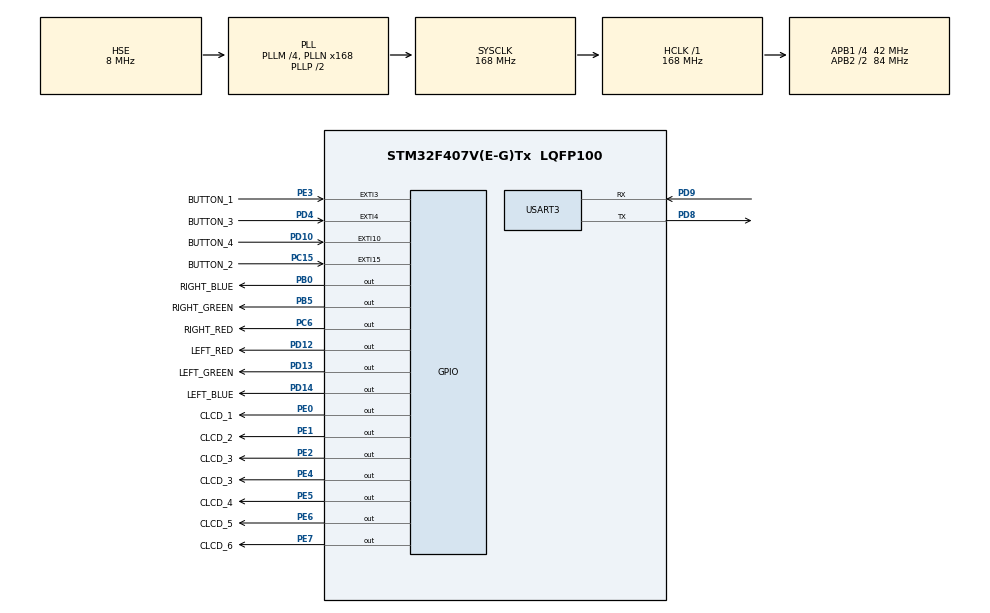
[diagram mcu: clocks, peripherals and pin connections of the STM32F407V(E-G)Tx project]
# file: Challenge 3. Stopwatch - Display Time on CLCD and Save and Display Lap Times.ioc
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Mcu.Family=STM32F4
Mcu.Name=STM32F407V(E-G)Tx
Mcu.Package=LQFP100
NVIC.EXTI15_10_IRQn=true\:0\:0\:false\:true\:true\:5\:true\:true\:true
NVIC.EXTI3_IRQn=true\:0\:0\:false\:true\:true\:3\:true\:true\:true
NVIC.EXTI4_IRQn=true\:0\:0\:false\:true\:true\:4\:true\:true\:true
NVIC.PriorityGroup=NVIC_PRIORITYGROUP_4
NVIC.TIM6_DAC_IRQn=true\:0\:0\:false\:true\:true\:1\:true\:true\:true
NVIC.USART3_IRQn=true\:0\:0\:false\:true\:true\:2\:true\:true\:true
PA13.Mode=Serial_Wire
PA13.Signal=SYS_JTMS-SWDIO
PA14.Mode=Serial_Wire
PA14.Signal=SYS_JTCK-SWCLK
PB0.GPIO_Label=RIGHT_BLUE
PB0.GPIO_PuPd=GPIO_PULLUP
PB0.GPIO_Speed=GPIO_SPEED_FREQ_HIGH
PB0.PinState=GPIO_PIN_SET
PB0.Signal=GPIO_Output
PB5.GPIO_Label=RIGHT_GREEN
PB5.GPIO_ModeDefaultOutputPP=GPIO_MODE_OUTPUT_PP
PB5.GPIO_PuPd=GPIO_PULLUP
PB5.GPIO_Speed=GPIO_SPEED_FREQ_HIGH
PB5.PinState=GPIO_PIN_SET
PB5.Signal=GPIO_Output
PC15-OSC32_OUT.GPIO_Label=BUTTON_2
PC15-OSC32_OUT.GPIO_ModeDefaultEXTI=GPIO_MODE_IT_RISING_FALLING
PC15-OSC32_OUT.Signal=GPXTI15
PC6.GPIO_Label=RIGHT_RED
PC6.GPIO_ModeDefaultOutputPP=GPIO_MODE_OUTPUT_PP
PC6.GPIO_PuPd=GPIO_PULLUP
PC6.GPIO_Speed=GPIO_SPEED_FREQ_HIGH
PC6.PinState=GPIO_PIN_SET
PC6.Signal=GPIO_Output
PD10.GPIO_Label=BUTTON_4
PD10.GPIO_ModeDefaultEXTI=GPIO_MODE_IT_RISING_FALLING
PD10.Signal=GPXTI10
PD12.GPIO_Label=LEFT_RED
PD12.GPIO_PuPd=GPIO_PULLUP
PD12.GPIO_Speed=GPIO_SPEED_FREQ_HIGH
PD12.PinState=GPIO_PIN_SET
PD12.Signal=GPIO_Output
PD13.GPIO_Label=LEFT_GREEN
PD13.GPIO_ModeDefaultOutputPP=GPIO_MODE_OUTPUT_PP
PD13.GPIO_PuPd=GPIO_PULLUP
PD13.GPIO_Speed=GPIO_SPEED_FREQ_HIGH
PD13.PinState=GPIO_PIN_SET
PD13.Signal=GPIO_Output
PD14.GPIO_Label=LEFT_BLUE
PD14.GPIO_ModeDefaultOutputPP=GPIO_MODE_OUTPUT_PP
PD14.GPIO_PuPd=GPIO_PULLUP
PD14.GPIO_Speed=GPIO_SPEED_FREQ_HIGH
PD14.PinState=GPIO_PIN_SET
PD14.Signal=GPIO_Output
PD4.GPIO_Label=BUTTON_3
PD4.GPIO_ModeDefaultEXTI=GPIO_MODE_IT_RISING_FALLING
PD4.Signal=GPXTI4
PD8.Mode=Asynchronous
PD8.Signal=USART3_TX
PD9.Mode=Asynchronous
PD9.Signal=USART3_RX
PE0.GPIO_Label=CLCD_1
PE0.Signal=GPIO_Output
PE1.GPIO_Label=CLCD_2
PE1.Signal=GPIO_Output
PE2.GPIO_Label=CLCD_3
PE2.Signal=GPIO_Output
PE3.GPIO_Label=BUTTON_1
PE3.GPIO_ModeDefaultEXTI=GPIO_MODE_IT_RISING_FALLING
PE3.Signal=GPXTI3
PE4.GPIO_Label=CLCD_3
PE4.Signal=GPIO_Output
PE5.GPIO_Label=CLCD_4
PE5.Signal=GPIO_Output
PE6.GPIO_Label=CLCD_5
PE6.Signal=GPIO_Output
PE7.GPIO_Label=CLCD_6
PE7.Signal=GPIO_Output
PH0-OSC_IN.Mode=HSE-External-Oscillator
PH0-OSC_IN.Signal=RCC_OSC_IN
PH1-OSC_OUT.Mode=HSE-External-Oscillator
PH1-OSC_OUT.Signal=RCC_OSC_OUT
ProjectManager.HeapSize=0x200
ProjectManager.StackSize=0x400
ProjectManager.TargetToolchain=STM32CubeIDE
RCC.48MHZClocksFreq_Value=84000000
RCC.AHBFreq_Value=168000000
RCC.APB1CLKDivider=RCC_HCLK_DIV4
RCC.APB1Freq_Value=42000000
RCC.APB1TimFreq_Value=84000000
RCC.APB2CLKDivider=RCC_HCLK_DIV2
RCC.APB2Freq_Value=84000000
RCC.APB2TimFreq_Value=168000000
RCC.CortexFreq_Value=168000000
RCC.HCLKFreq_Value=168000000
RCC.HSE_VALUE=8000000
RCC.HSI_VALUE=16000000
RCC.LSE_VALUE=32768
RCC.PLLM=4
RCC.PLLN=168
RCC.PLLSourceVirtual=RCC_PLLSOURCE_HSE
RCC.SYSCLKFreq_VALUE=168000000
RCC.SYSCLKSource=RCC_SYSCLKSOURCE_PLLCLK
RCC.VCOOutputFreq_Value=336000000
TIM6.AutoReloadPreload=TIM_AUTORELOAD_PRELOAD_ENABLE
TIM6.Period=1000 - 1
TIM6.Prescaler=84 - 1
USART3.VirtualMode=VM_ASYNC
VP_TIM6_VS_ClockSourceINT.Mode=Enable_Timer
board=custom

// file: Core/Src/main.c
/* USER CODE BEGIN Header */
/**
  ******************************************************************************
  * @file           : main.c
  * @brief          : Main program body
  ******************************************************************************
  * @attention
  *
  * Copyright (c) 2024 STMicroelectronics.
  * All rights reserved.
  *
  * This software is licensed under terms that can be found in the LICENSE file
  * in the root directory of this software component.
  * If no LICENSE file comes with this software, it is provided AS-IS.
  *
  ******************************************************************************
  */
/* USER CODE END Header */
#include <_000_common.h>
#include <_001_mode.h>
#include <_002_timer.h>
#include <_003_uart.h>
#include <_102_lcd.h>
#include <_103_seven_segment.h>
#include <_104_led.h>
#include <_105_button.h>
#include "main.h"
#include <_101_digital_clock.h>

TIM_HandleTypeDef htim6;

UART_HandleTypeDef huart3;

void SystemClock_Config(void);
static void MX_GPIO_Init(void);
static void MX_USART3_UART_Init(void);
static void MX_TIM6_Init(void);
static void MX_NVIC_Init(void);

int main(void)
{

  /* MCU Configuration--------------------------------------------------------*/

  /* Reset of all peripherals, Initializes the Flash interface and the Systick. */
  HAL_Init();

  /* Configure the system clock */
  SystemClock_Config();

  /* Initialize all configured peripherals */
  MX_GPIO_Init();
  MX_USART3_UART_Init();
  MX_TIM6_Init();

  /* Initialize interrupts */
  MX_NVIC_Init();
  /* USER CODE BEGIN 2 */
  HAL_TIM_Base_Start_IT(&htim6);
  _7SEG_GPIO_Init();
  CLCD_GPIO_Init();
  CLCD_Init();

  /* USER CODE END 2 */

  /* Infinite loop */
  /* USER CODE BEGIN WHILE */

  Button* button_1 = GET_INSTANCE(button_1);
  Button* button_2 = GET_INSTANCE(button_2);
  Button* button_3 = GET_INSTANCE(button_3);
  Button* button_4 = GET_INSTANCE(button_4);

  SevenSegment* segment = GET_INSTANCE(segment);

  Lcd* lcd = GET_INSTANCE(lcd);

  Led* left_red   = GET_INSTANCE(left_red);
  Led* left_green = GET_INSTANCE(left_green);
  Led* left_blue  = GET_INSTANCE(left_blue);
  Led* right_red  = GET_INSTANCE(right_red);

  while (1)
  {
	  button_1->update(button_1);
	  button_2->update(button_2);
	  button_3->update(button_3);
	  button_4->update(button_4);

	  segment->operate(segment);
	  lcd->operate(lcd);

	  left_red->operate(left_red, button_1);
	  left_green->operate(left_green, button_2);
	  left_blue->operate(left_blue, button_3);
	  right_red->operate(right_red, button_4);

    /* USER CODE END WHILE */

  }
}

void SystemClock_Config(void)
{
  RCC_OscInitTypeDef RCC_OscInitStruct = {0};
  RCC_ClkInitTypeDef RCC_ClkInitStruct = {0};

  /** Configure the main internal regulator output voltage
  */
  __HAL_RCC_PWR_CLK_ENABLE();
  __HAL_PWR_VOLTAGESCALING_CONFIG(PWR_REGULATOR_VOLTAGE_SCALE1);

  /** Initializes the RCC Oscillators according to the specified parameters
  * in the RCC_OscInitTypeDef structure.
  */
  RCC_OscInitStruct.OscillatorType = RCC_OSCILLATORTYPE_HSE;
  RCC_OscInitStruct.HSEState = RCC_HSE_ON;
  RCC_OscInitStruct.PLL.PLLState = RCC_PLL_ON;
  RCC_OscInitStruct.PLL.PLLSource = RCC_PLLSOURCE_HSE;
  RCC_OscInitStruct.PLL.PLLM = 4;
  RCC_OscInitStruct.PLL.PLLN = 168;
  RCC_OscInitStruct.PLL.PLLP = RCC_PLLP_DIV2;
  RCC_OscInitStruct.PLL.PLLQ = 4;
  if (HAL_RCC_OscConfig(&RCC_OscInitStruct) != HAL_OK)
  {
    Error_Handler();
  }

  /** Initializes the CPU, AHB and APB buses clocks
  */
  RCC_ClkInitStruct.ClockType = RCC_CLOCKTYPE_HCLK|RCC_CLOCKTYPE_SYSCLK
                              |RCC_CLOCKTYPE_PCLK1|RCC_CLOCKTYPE_PCLK2;
  RCC_ClkInitStruct.SYSCLKSource = RCC_SYSCLKSOURCE_PLLCLK;
  RCC_ClkInitStruct.AHBCLKDivider = RCC_SYSCLK_DIV1;
  RCC_ClkInitStruct.APB1CLKDivider = RCC_HCLK_DIV4;
  RCC_ClkInitStruct.APB2CLKDivider = RCC_HCLK_DIV2;

  if (HAL_RCC_ClockConfig(&RCC_ClkInitStruct, FLASH_LATENCY_5) != HAL_OK)
  {
    Error_Handler();
  }
}

/**
  * @brief NVIC Configuration.
  * @retval None
  */
static void MX_NVIC_Init(void)
{
  /* TIM6_DAC_IRQn interrupt configuration */
  HAL_NVIC_SetPriority(TIM6_DAC_IRQn, 0, 0);
  HAL_NVIC_EnableIRQ(TIM6_DAC_IRQn);
  /* USART3_IRQn interrupt configuration */
  HAL_NVIC_SetPriority(USART3_IRQn, 0, 0);
  HAL_NVIC_EnableIRQ(USART3_IRQn);
  /* EXTI3_IRQn interrupt configuration */
  HAL_NVIC_SetPriority(EXTI3_IRQn, 0, 0);
  HAL_NVIC_EnableIRQ(EXTI3_IRQn);
  /* EXTI4_IRQn interrupt configuration */
  HAL_NVIC_SetPriority(EXTI4_IRQn, 0, 0);
  HAL_NVIC_EnableIRQ(EXTI4_IRQn);
  /* EXTI15_10_IRQn interrupt configuration */
  HAL_NVIC_SetPriority(EXTI15_10_IRQn, 0, 0);
  HAL_NVIC_EnableIRQ(EXTI15_10_IRQn);
}

static void MX_TIM6_Init(void)
{

  TIM_MasterConfigTypeDef sMasterConfig = {0};

  htim6.Instance = TIM6;
  htim6.Init.Prescaler = 84 - 1;
  htim6.Init.CounterMode = TIM_COUNTERMODE_UP;
  htim6.Init.Period = 1000 - 1;
  htim6.Init.AutoReloadPreload = TIM_AUTORELOAD_PRELOAD_ENABLE;
  if (HAL_TIM_Base_Init(&htim6) != HAL_OK)
  {
    Error_Handler();
  }
  sMasterConfig.MasterOutputTrigger = TIM_TRGO_RESET;
  sMasterConfig.MasterSlaveMode = TIM_MASTERSLAVEMODE_DISABLE;
  if (HAL_TIMEx_MasterConfigSynchronization(&htim6, &sMasterConfig) != HAL_OK)
  {
    Error_Handler();
  }

}

static void MX_USART3_UART_Init(void)
{

  huart3.Instance = USART3;
  huart3.Init.BaudRate = 115200;
  huart3.Init.WordLength = UART_WORDLENGTH_8B;
  huart3.Init.StopBits = UART_STOPBITS_1;
  huart3.Init.Parity = UART_PARITY_NONE;
  huart3.Init.Mode = UART_MODE_TX_RX;
  huart3.Init.HwFlowCtl = UART_HWCONTROL_NONE;
  huart3.Init.OverSampling = UART_OVERSAMPLING_16;
  if (HAL_UART_Init(&huart3) != HAL_OK)
  {
    Error_Handler();
  }

}

static void MX_GPIO_Init(void)
{
  GPIO_InitTypeDef GPIO_InitStruct = {0};

  /* GPIO Ports Clock Enable */
  __HAL_RCC_GPIOE_CLK_ENABLE();
  __HAL_RCC_GPIOC_CLK_ENABLE();
  __HAL_RCC_GPIOH_CLK_ENABLE();
  __HAL_RCC_GPIOB_CLK_ENABLE();
  __HAL_RCC_GPIOD_CLK_ENABLE();
  __HAL_RCC_GPIOA_CLK_ENABLE();

  /*Configure GPIO pin Output Level */
  HAL_GPIO_WritePin(GPIOE, CLCD_3_Pin|CLCD_3E4_Pin|CLCD_4_Pin|CLCD_5_Pin
                          |CLCD_6_Pin|CLCD_1_Pin|CLCD_2_Pin, GPIO_PIN_RESET);

  /*Configure GPIO pin Output Level */
  HAL_GPIO_WritePin(GPIOB, RIGHT_BLUE_Pin|RIGHT_GREEN_Pin, GPIO_PIN_SET);

  /*Configure GPIO pin Output Level */
  HAL_GPIO_WritePin(GPIOD, LEFT_RED_Pin|LEFT_GREEN_Pin|LEFT_BLUE_Pin, GPIO_PIN_SET);

  /*Configure GPIO pin Output Level */
  HAL_GPIO_WritePin(RIGHT_RED_GPIO_Port, RIGHT_RED_Pin, GPIO_PIN_SET);

  /*Configure GPIO pins : CLCD_3_Pin CLCD_3E4_Pin CLCD_4_Pin CLCD_5_Pin
                           CLCD_6_Pin CLCD_1_Pin CLCD_2_Pin */
  GPIO_InitStruct.Pin = CLCD_3_Pin|CLCD_3E4_Pin|CLCD_4_Pin|CLCD_5_Pin
                          |CLCD_6_Pin|CLCD_1_Pin|CLCD_2_Pin;
  GPIO_InitStruct.Mode = GPIO_MODE_OUTPUT_PP;
  GPIO_InitStruct.Pull = GPIO_NOPULL;
  GPIO_InitStruct.Speed = GPIO_SPEED_FREQ_LOW;
  HAL_GPIO_Init(GPIOE, &GPIO_InitStruct);

  /*Configure GPIO pin : BUTTON_1_Pin */
  GPIO_InitStruct.Pin = BUTTON_1_Pin;
  GPIO_InitStruct.Mode = GPIO_MODE_IT_RISING_FALLING;
  GPIO_InitStruct.Pull = GPIO_NOPULL;
  HAL_GPIO_Init(BUTTON_1_GPIO_Port, &GPIO_InitStruct);

  /*Configure GPIO pin : BUTTON_2_Pin */
  GPIO_InitStruct.Pin = BUTTON_2_Pin;
  GPIO_InitStruct.Mode = GPIO_MODE_IT_RISING_FALLING;
  GPIO_InitStruct.Pull = GPIO_NOPULL;
  HAL_GPIO_Init(BUTTON_2_GPIO_Port, &GPIO_InitStruct);

  /*Configure GPIO pins : RIGHT_BLUE_Pin RIGHT_GREEN_Pin */
  GPIO_InitStruct.Pin = RIGHT_BLUE_Pin|RIGHT_GREEN_Pin;
  GPIO_InitStruct.Mode = GPIO_MODE_OUTPUT_PP;
  GPIO_InitStruct.Pull = GPIO_PULLUP;
  GPIO_InitStruct.Speed = GPIO_SPEED_FREQ_HIGH;
  HAL_GPIO_Init(GPIOB, &GPIO_InitStruct);

  /*Configure GPIO pins : BUTTON_4_Pin BUTTON_3_Pin */
  GPIO_InitStruct.Pin = BUTTON_4_Pin|BUTTON_3_Pin;
  GPIO_InitStruct.Mode = GPIO_MODE_IT_RISING_FALLING;
  GPIO_InitStruct.Pull = GPIO_NOPULL;
  HAL_GPIO_Init(GPIOD, &GPIO_InitStruct);

  /*Configure GPIO pins : LEFT_RED_Pin LEFT_GREEN_Pin LEFT_BLUE_Pin */
  GPIO_InitStruct.Pin = LEFT_RED_Pin|LEFT_GREEN_Pin|LEFT_BLUE_Pin;
  GPIO_InitStruct.Mode = GPIO_MODE_OUTPUT_PP;
  GPIO_InitStruct.Pull = GPIO_PULLUP;
  GPIO_InitStruct.Speed = GPIO_SPEED_FREQ_HIGH;
  HAL_GPIO_Init(GPIOD, &GPIO_InitStruct);

  /*Configure GPIO pin : RIGHT_RED_Pin */
  GPIO_InitStruct.Pin = RIGHT_RED_Pin;
  GPIO_InitStruct.Mode = GPIO_MODE_OUTPUT_PP;
  GPIO_InitStruct.Pull = GPIO_PULLUP;
  GPIO_InitStruct.Speed = GPIO_SPEED_FREQ_HIGH;
  HAL_GPIO_Init(RIGHT_RED_GPIO_Port, &GPIO_InitStruct);

}

/* USER CODE BEGIN 4 */
void HAL_UART_RxCpltCallback(UART_HandleTypeDef *huart)
{
	Uart* uart = GET_INSTANCE(uart);

	if (huart->Instance == USART3)
	{
		uart->receive(uart);
	}
}

void HAL_TIM_PeriodElapsedCallback(TIM_HandleTypeDef *htim)
{
	Timer* timer = GET_INSTANCE(timer);

	if (htim->Instance == TIM6)
	{
		timer->count_up(timer);
	}
}

void HAL_GPIO_EXTI_Callback(uint16_t GPIO_Pin)
{
//	Button* button_1 = GET_INSTANCE(button_1);
//	Button* button_2 = GET_INSTANCE(button_2);
//	Button* button_3 = GET_INSTANCE(button_3);
//	Button* button_4 = GET_INSTANCE(button_4);
//
//	if (GPIO_Pin == BUTTON_1_Pin) button_1->update(button_1);
//	if (GPIO_Pin == BUTTON_2_Pin) button_2->update(button_2);
//	if (GPIO_Pin == BUTTON_3_Pin) button_3->update(button_3);
//	if (GPIO_Pin == BUTTON_4_Pin) button_4->update(button_4);
}

/* USER CODE END 4 */

void Error_Handler(void)
{
  __disable_irq();
  while (1)
  {
  }
}
